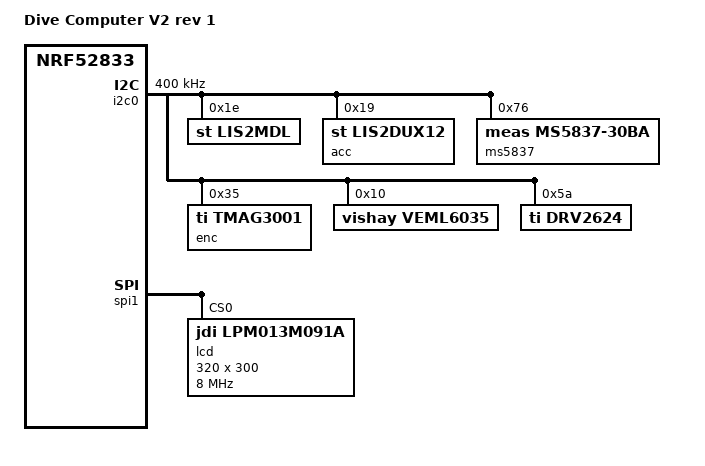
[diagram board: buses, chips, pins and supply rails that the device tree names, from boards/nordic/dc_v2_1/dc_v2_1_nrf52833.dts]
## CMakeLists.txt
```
cmake_minimum_required(VERSION 3.20.0)
set(BOARD_ROOT ${CMAKE_CURRENT_SOURCE_DIR})
find_package(Zephyr REQUIRED HINTS $ENV{ZEPHYR_BASE})

project(Firmware)

include(${CMAKE_CURRENT_SOURCE_DIR}/ostc4_baseline/exposure.cmake)
target_sources(app PRIVATE src/main.c src/firmware_exposure.c)
target_link_libraries(app PRIVATE ostc4_exposure)
```

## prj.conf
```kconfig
# SPDX-License-Identifier: Apache-2.0

# Enable MPU
CONFIG_ARM_MPU=y

# GPIO driver (rail enables, interrupts, screen control)
CONFIG_GPIO=y

# No UART is routed on this board: use SEGGER RTT over SWD for console
CONFIG_USE_SEGGER_RTT=y
CONFIG_RTT_CONSOLE=y
CONFIG_UART_CONSOLE=n
CONFIG_SERIAL=n

# Preserve OSTC4 binary32/binary64 source precision; Cortex-M4F is single only.
CONFIG_FPU=y
CONFIG_PICOLIBC=y
# Reserved stacks; static reservations are not runtime high-water measurements.
CONFIG_MAIN_STACK_SIZE=8192
CONFIG_SYSTEM_WORKQUEUE_STACK_SIZE=1024
# Honor the board's image-0 partition (0xc000..0x83000, 476 KiB).
CONFIG_USE_DT_CODE_PARTITION=y
# This development application and the calculation path use no allocation.
CONFIG_COMMON_LIBC_MALLOC_ARENA_SIZE=0
```

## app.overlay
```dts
/*
 * Dive Computer V2 rev 2, nRF52840-QIAA-F.
 * Approved Pin Studio plan, 2026-11-10: boards/nordic/dc_v2_2/pin-plan.json.
 * SPI0: SCK P0.04, MOSI P0.26. I2C1: SCL P0.27, SDA P0.05.
 * Passive routing/polarity/bias declarations, not a runtime power sequence.
 * SPDX-License-Identifier: Apache-2.0
 */
/ {
	/* Three independent active-high external regulator enables.
	 * Switched peripheral 1.8 V is distinct from always-powered MCU VDD. */
	gpio-leds {
		compatible = "gpio-leds";
		rail_1v2_en {
			gpios = <&gpio0 3 GPIO_PULL_DOWN>;
		};
		rail_1v8_en {
			gpios = <&gpio1 14 GPIO_PULL_DOWN>;
		};
		rail_3v1_en {
			gpios = <&gpio0 28 GPIO_PULL_DOWN>;
		};
		qi_en {
			/* BQ51051B EN2 adapter priority, not global Qi off. */
			gpios = <&gpio1 1 GPIO_ACTIVE_HIGH>;
		};
	};
	zephyr,user {
		/* Open-drain charger status; external pull-up to MCU VDD confirmed.
		 * Input only, with no MCU pull or output-driver flags. */
		chg_n-gpios = <&gpio1 2 GPIO_ACTIVE_LOW>;
		chg_n-input;
		chg_n-pullup-domain = "external-mcu-vdd";
	};
};

&spi0 {
	cs-gpios = <&gpio0 8 (GPIO_ACTIVE_LOW | GPIO_PULL_DOWN)>;
};

&lcd {
	reset-gpios = <&gpio0 6 (GPIO_ACTIVE_LOW | GPIO_PULL_UP)>;
	te-gpios = <&gpio1 9 GPIO_ACTIVE_HIGH>;
};

/* Single owner per interrupt, no duplicate gpio-keys. Intended ACC/MAG
 * active-high configuration follows SDK bindings; these flags do not set
 * sensor registers. Hall/light/haptic IRQ are active low. */
&acc {
	int1-gpios = <&gpio0 2 GPIO_ACTIVE_HIGH>;
	int2-gpios = <&gpio0 29 GPIO_ACTIVE_HIGH>;
	status = "okay";
};

&mag {
	irq-gpios = <&gpio1 15 GPIO_ACTIVE_HIGH>;
};

&enc {
	int-gpios = <&gpio0 30 GPIO_ACTIVE_LOW>;
};

&light {
	int-gpios = <&gpio1 13 GPIO_ACTIVE_LOW>;
};

&haptic {
	/* TRIG/INTZ in interrupt mode needs an external pull-up.
	 * No haptic register setup/driver is implemented by this declaration. */
	int-gpios = <&gpio0 31 GPIO_ACTIVE_LOW>;
};

/* BL_PWM_MCU P0.12 has only the optional PWM0 owner, disabled normally.
 * Manual fallback: R7 fitted/R8 removed. Normal panel PWM: R8 fitted/R7 DNP. */
```

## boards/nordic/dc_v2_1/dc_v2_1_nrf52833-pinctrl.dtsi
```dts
/*
 * Dive Computer V2 rev 1 - pin control definitions
 *
 * Final pinout, validated against the KiCad schematic netlist and the
 * nRF52833 QDAA (QFN40) pin assignments (product spec v1.2, Table 140).
 *
 * Only bonded QFN40 GPIOs are used. Per Table 140, P0.02, P0.03, P0.09,
 * P0.10 and P0.28-P0.30 are standard-drive, low-frequency only (<= 10 kHz)
 * pins: they carry the slow control/event signals below. All fast signals
 * (I2C at 400 kHz, screen SPI at 8 MHz) are on full-speed GPIOs.
 *
 * Fast GPIOs : P0.04, P0.05, P0.11, P1.09, P0.15, P0.17, P0.20, P0.31
 * Slow GPIOs : P0.02, P0.03, P0.09, P0.10, P0.28, P0.29, P0.30
 * Reserved   : P0.00/P0.01 (32 kHz crystal XL1/XL2), P0.18 (nRESET)
 *
 * SPDX-License-Identifier: Apache-2.0
 */

&pinctrl {
	/* Shared sensor bus: LIS2MDL (0x1E), LIS2DUX12 (0x19), VEML6035,
	 * TMAG3001 (ADDR=GND), MS5837-30BA (0x76), DRV2624 (0x5A).
	 * External 4.7k pull-ups to the always-on 1.8 V rail. */
	i2c0_default: i2c0_default {
		group1 {
			psels = <NRF_PSEL(TWIM_SCL, 0, 15)>,
				<NRF_PSEL(TWIM_SDA, 0, 17)>;
		};
	};

	i2c0_sleep: i2c0_sleep {
		group1 {
			psels = <NRF_PSEL(TWIM_SCL, 0, 15)>,
				<NRF_PSEL(TWIM_SDA, 0, 17)>;
			/* High-Z in sleep: the external pull-ups to the
			 * always-on 1.8 V rail keep the bus defined while
			 * the sensors stay powered for wake-up events. */
			low-power-enable;
		};
	};

	/* JDI LPM013M091A, 3-wire 9-bit SPI. 9-bit frames are produced by
	 * packing 8 frames into 9 bytes and issuing one transfer per line
	 * with CS held low (nRF SPIM is 8-bit only). tSCYCW min = 16 ns for
	 * GRAM writes, so 8 MHz is within spec. */
	spi1_default: spi1_default {
		group1 {
			psels = <NRF_PSEL(SPIM_SCK, 0, 4)>,
				<NRF_PSEL(SPIM_MOSI, 0, 5)>;
		};
	};

	spi1_sleep: spi1_sleep {
		group1 {
			psels = <NRF_PSEL(SPIM_SCK, 0, 4)>,
				<NRF_PSEL(SPIM_MOSI, 0, 5)>;
			/* Screen rails are gated off in sleep; keep the SPI
			 * lines low so the unpowered panel is not back-
			 * powered through its ESD diodes (JDI requires
			 * interface lines at GND level while VDDI/VCI off). */
			low-power-enable;
			bias-pull-down;
		};
	};
};
```

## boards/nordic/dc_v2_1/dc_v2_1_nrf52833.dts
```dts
/*
 * Dive Computer V2 rev 1 - nRF52833 QDAA (QFN40)
 *
 * Board hardware description, matching the KiCad schematic.
 * Power architecture: high-voltage mode (VDDH = battery on pin 9, VDD
 * pins decoupling only) - the internal REG0 LDO generates the 1.8 V
 * digital supply (REGOUT0 default), so all GPIO levels are 1.8 V.
 *
 * SPDX-License-Identifier: Apache-2.0
 */

/dts-v1/;
#include <nordic/nrf52833_qdaa.dtsi>
#include "dc_v2_1_nrf52833-pinctrl.dtsi"

/ {
	model = "Dive Computer V2 rev 1";
	compatible = "dive,dc-v2-1";

	chosen {
		zephyr,sram = &sram0;
		zephyr,flash = &flash0;
		zephyr,code-partition = &slot0_partition;
		/* No UART is routed on this board (no spare QFN40 GPIO);
		 * use SEGGER RTT over SWD for console output. */
	};

	/* GPIO pin assignments (gpio-leds/gpio-keys, sensor and screen
	 * control pins, SPI chip select) live in app.overlay so they are
	 * visible and editable in the Devicetree Visual Editor. */
};

/* GPIO ports and GPIOTE are disabled by default in the SoC dtsi;
 * enable them explicitly like the Nordic reference boards do. */
&gpiote {
	status = "okay";
};

&gpio0 {
	status = "okay";
};

&gpio1 {
	status = "okay";
};

/* P0.18/nRESET is wired to the debug connector: configure it as
 * hardware reset so a locked/sleeping device can always be
 * re-attached (same effect as nrfjprog --pinresetenable). */
&uicr {
	gpio-as-nreset;
};

&i2c0 {
	status = "okay";
	pinctrl-0 = <&i2c0_default>;
	pinctrl-1 = <&i2c0_sleep>;
	pinctrl-names = "default", "sleep";
	clock-frequency = <400000>;

	/* Magnetometer, I2C mode (CS pin tied high), fixed address.
	 * INT/DRDY not routed to the MCU: polled. */
	lis2mdl@1e {
		compatible = "st,lis2mdl";
		reg = <0x1e>;
	};

	/* Accelerometer, I2C mode (CS high), SA0 high. INT1 routed
	 * (wake-on-motion, assigned in app.overlay); INT2 not routed
	 * per pin budget decision. */
	acc: lis2dux12@19 {
		compatible = "st,lis2dux12";
		reg = <0x19>;
	};

	/* Pressure sensor, fixed address. */
	ms5837: ms5837@76 {
		compatible = "meas,ms5837-30ba";
		reg = <0x76>;
	};

	/* 3D Hall sensor for the rotary encoder, ADDR pin to GND. */
	enc: tmag3001@35 {
		compatible = "ti,tmag3001";
		reg = <0x35>;
	};

	/* Ambient light sensor (out-of-tree driver, fixed address). */
	veml6035@10 {
		compatible = "vishay,veml6035";
		reg = <0x10>;
	};

	/* Haptic driver, LRA 250 Hz (out-of-tree driver, fixed address). */
	drv2624@5a {
		compatible = "ti,drv2624";
		reg = <0x5a>;
	};
};

&spi1 {
	status = "okay";
	pinctrl-0 = <&spi1_default>;
	pinctrl-1 = <&spi1_sleep>;
	pinctrl-names = "default", "sleep";

	/* JDI LPM013M091A, 320x300 RGB111 memory-in-pixel, 3-wire 9-bit
	 * SPI (IM0=GND, DCX=VDDI). Out-of-tree display driver; TE (SYNC)
	 * input for tear-free updates. Chip select, reset and TE pins are
	 * assigned in app.overlay. */
	lcd: lpm013m091a@0 {
		compatible = "jdi,lpm013m091a";
		reg = <0>;
		spi-max-frequency = <8000000>;
		width = <320>;
		height = <300>;
	};
};

&flash0 {
	partitions {
		ranges;
		#address-cells = <1>;
		#size-cells = <1>;

		boot_partition: partition@0 {
			compatible = "zephyr,mapped-partition";
			label = "mcuboot";
			reg = <0x00000000 0xc000>;
		};

		slot0_partition: partition@c000 {
			compatible = "zephyr,mapped-partition";
			label = "image-0";
			reg = <0x0000c000 0x37000>;
		};

		slot1_partition: partition@43000 {
			compatible = "zephyr,mapped-partition";
			label = "image-1";
			reg = <0x00043000 0x37000>;
		};

		storage_partition: partition@7a000 {
			compatible = "zephyr,mapped-partition";
			label = "storage";
			reg = <0x0007a000 0x00006000>;
		};
	};
};
```

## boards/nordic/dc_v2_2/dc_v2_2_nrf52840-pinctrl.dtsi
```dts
/*
 * Dive Computer V2 rev 2 - nRF52840-QIAA pin control.
 * Owner-approved pin-plan.json, 2026-11-10.
 * SPI0 SCK/MOSI P0.04/P0.26; I2C1 SCL/SDA P0.27/P0.05.
 * Bus pins have no QIAA low-frequency restriction. Restricted application
 * GPIOs use standard drive and <=10 kHz event rates: P0.02/P0.03,
 * P0.28-P0.31, P1.01/P1.02/P1.13-P1.15.
 * P0.00/P0.01 remain XL1/XL2; P0.18 remains nRESET.
 * SPDX-License-Identifier: Apache-2.0
 */

&pinctrl {
	/* Shared sensor bus: LIS2MDL (0x1E), LIS2DUX12 (0x19), VEML6035,
	 * TMAG3001 (ADDR=GND), MS5837-30BA (0x76), DRV2624 (0x5A).
	 * External 4.7k pull-ups to the switched peripheral 1.8 V rail,
	 * enabled by P1.14 independently of the 1.2 V rail on P0.03. */
	i2c1_default: i2c1_default {
		group1 {
			psels = <NRF_PSEL(TWIM_SCL, 0, 27)>,
				<NRF_PSEL(TWIM_SDA, 0, 5)>;
			/* Standard low, disconnected high (open-drain). The SDK
			 * TWIM pinctrl driver also maps its default S0S1 to S0D1. */
			nordic,drive-mode = <NRF_DRIVE_S0D1>;
		};
	};

	i2c1_sleep: i2c1_sleep {
		group1 {
			psels = <NRF_PSEL(TWIM_SCL, 0, 27)>,
				<NRF_PSEL(TWIM_SDA, 0, 5)>;
			nordic,drive-mode = <NRF_DRIVE_S0D1>;
			/* Inputs disconnected, no internal pulls. External pull-ups
			 * disappear when the shared rail is off. A future power
			 * manager must quiesce transfers before selecting this state;
			 * this declaration alone does not sequence the rail. */
			low-power-enable;
		};
	};

	/* JDI three-wire nine-bit framing needs a future transport over the
	 * installed eight-bit-word SPIM driver: packing, exact clocks and CS
	 * continuity are not implemented here. No MISO/read path is routed.
	 * 8 MHz remains the confirmed ceiling with unresolved setup margin:
	 * 62.5 - 59 = 3.5 ns versus 20 ns register / 5 ns GRAM requirement.
	 * validation/spi4mhz.overlay selects the audit's recommended 4 MHz
	 * and high drive, leaving 66 ns before board skew. DC/10 ns edges
	 * still require physical qualification. */
	spi0_default: spi0_default {
		group1 {
			psels = <NRF_PSEL(SPIM_SCK, 0, 4)>,
				<NRF_PSEL(SPIM_MOSI, 0, 26)>;
			nordic,drive-mode = <NRF_DRIVE_S0S1>;
		};
	};

	spi0_sleep: spi0_sleep {
		group1 {
			psels = <NRF_PSEL(SPIM_SCK, 0, 4)>,
				<NRF_PSEL(SPIM_MOSI, 0, 26)>;
			/* Input/disconnected buffer plus weak pull-down: not a driven
			 * low or an implemented shutdown sequence. Powered mode-0
			 * idle and unpowered GND requirements are distinct. Runtime
			 * sequencing must establish suitable levels before rail-off
			 * and cover CS/reset/TE too; pinctrl alone proves none of it. */
			low-power-enable;
			bias-pull-down;
		};
	};

	/* PWM MCU de secours: P0.12/U1, no GPIO output alias.
	 * The controller stays disabled until the explicit fallback overlay. */
	pwm0_default: pwm0_default {
		group1 {
			psels = <NRF_PSEL(PWM_OUT0, 0, 12)>;
			nordic,drive-mode = <NRF_DRIVE_S0S1>;
		};
	};

	pwm0_sleep: pwm0_sleep {
		group1 {
			psels = <NRF_PSEL(PWM_OUT0, 0, 12)>;
			low-power-enable;
			bias-pull-down;
		};
	};
};
```

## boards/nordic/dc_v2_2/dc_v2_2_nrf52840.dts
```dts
/*
 * Dive Computer V2 rev 2 - nRF52840-QIAA; procurement variant QIAA-F.
 * Battery feeds VDDH. MCU VDD is distinct from the switched external 1.8 V rail.
 * Both internal DC/DC stages require their Nordic reference LC networks.
 * No image/startup code here writes REGOUT0; inspect the actual device UICR
 * before any later hardware programming. See README-target.txt.
 * SPDX-License-Identifier: Apache-2.0
 */

/dts-v1/;
#include <nordic/nrf52840_qiaa.dtsi>
#include "dc_v2_2_nrf52840-pinctrl.dtsi"

/ {
	model = "Dive Computer V2 rev 2";
	compatible = "dive,dc-v2-2";

	chosen {
		zephyr,sram = &sram0;
		zephyr,flash = &flash0;
		zephyr,code-partition = &slot0_partition;
		/* No UART is routed on this board;
		 * use SEGGER RTT over SWD for console output. */
	};

	/* Inspectable voltage policy, not proof of a preprogrammed UICR value.
	 * VOUT=0 selects 1.8 V; erased/default VOUT=7 also gives 1.8 V.
	 * Existing devices with another value require separate qualification. */
	zephyr,user {
		mcu-regout0-microvolt = <1800000>;
		mcu-regout0-uicr-vout = <0>;
	};

	/* GPIO pin assignments (rail enables, sensor and screen
	 * control pins, SPI chip select) live in app.overlay so they are
	 * visible and editable in the Devicetree Visual Editor. */
};

/* GPIO ports and GPIOTE are disabled by default in the SoC dtsi;
 * enable them explicitly like the Nordic reference boards do. */
&gpiote {
	status = "okay";
};

&gpio0 {
	status = "okay";
};

&gpio1 {
	status = "okay";
};

/* P0.18/nRESET is wired to the debug connector: configure it as
 * hardware reset so a locked/sleeping device can always be
 * re-attached (same effect as nrfjprog --pinresetenable). */
&uicr {
	gpio-as-nreset;
	nfct-pins-as-gpios;
};

/* Supported SDK regulator selection; do not use deprecated DCDC Kconfig. */
&reg0 {
	status = "okay";
};

&reg1 {
	regulator-initial-mode = <NRF5X_REG_MODE_DCDC>;
};

&i2c1 {
	status = "okay";
	pinctrl-0 = <&i2c1_default>;
	pinctrl-1 = <&i2c1_sleep>;
	pinctrl-names = "default", "sleep";
	clock-frequency = <400000>;

	/* Magnetometer, I2C mode (CS high), DRDY on P1.15. */
	mag: lis2mdl@1e {
		compatible = "st,lis2mdl";
		reg = <0x1e>;
	};

	/* Accelerometer, SA0 high; INT1/INT2 on P0.02/P0.29. */
	acc: lis2dux12@19 {
		compatible = "st,lis2dux12";
		reg = <0x19>;
	};

	/* Pressure sensor, fixed address. */
	ms5837: ms5837@76 {
		compatible = "meas,ms5837-30ba";
		reg = <0x76>;
	};

	/* 3D Hall sensor for the rotary encoder, ADDR pin to GND. */
	enc: tmag3001@34 {
		compatible = "ti,tmag3001";
		reg = <0x34>;
	};

	/* Ambient light sensor (out-of-tree driver, fixed address). */
	light: veml6035@10 {
		compatible = "vishay,veml6035";
		reg = <0x10>;
	};

	/* Haptic driver, LRA 250 Hz (out-of-tree driver, fixed address). */
	haptic: drv2624@5a {
		compatible = "ti,drv2624";
		reg = <0x5a>;
	};
};

&spi0 {
	status = "okay";
	pinctrl-0 = <&spi0_default>;
	pinctrl-1 = <&spi0_sleep>;
	pinctrl-names = "default", "sleep";

	/* JDI LPM013M091A, 320x300 RGB111, three-wire nine-bit protocol
	 * (IM0=GND, DCX=VDDI). No panel transport/driver is implemented.
	 * Absent spi-cpol/spi-cpha select mode 0 (rising-edge sampling).
	 * 8 MHz is the confirmed ceiling, not qualified operating speed.
	 * Chip select/reset/TE live in app.overlay; no MISO/read path. */
	lcd: lpm013m091a@0 {
		compatible = "jdi,lpm013m091a";
		reg = <0>;
		spi-max-frequency = <8000000>;
		width = <320>;
		height = <300>;
	};
};

/* PWM écran remains normal: R8 fitted, R7 DNP. P0.12 has no active
 * owner until explicit fallback selection (R7 fitted, R8 DNP). */
&pwm0 {
	status = "disabled";
	pinctrl-0 = <&pwm0_default>;
	pinctrl-1 = <&pwm0_sleep>;
	pinctrl-names = "default", "sleep";
};

/* Derived layout: 48 + 476 + 476 + 24 KiB; reservations only. */
&flash0 {
	partitions {
		ranges;
		#address-cells = <1>;
		#size-cells = <1>;

		boot_partition: partition@0 {
			compatible = "zephyr,mapped-partition";
			label = "mcuboot";
			reg = <0x00000000 0xc000>;
		};

		slot0_partition: partition@c000 {
			compatible = "zephyr,mapped-partition";
			label = "image-0";
			reg = <0x0000c000 0x77000>;
		};

		slot1_partition: partition@83000 {
			compatible = "zephyr,mapped-partition";
			label = "image-1";
			reg = <0x00083000 0x77000>;
		};

		storage_partition: partition@fa000 {
			compatible = "zephyr,mapped-partition";
			label = "storage";
			reg = <0x000fa000 0x00006000>;
		};
	};
};
```

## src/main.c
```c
/* SPDX-License-Identifier: GPL-3.0-or-later */
#include <zephyr/kernel.h>
#include <zephyr/sys/printk.h>
#include "firmware_exposure.h"

int main(void)
{
    printk("OSTC4 development firmware: SYNTHETIC self-test, no sensor exposure\n");
    const int status = firmware_exposure_smoke();
    /* Always fail closed, including when a smoke assertion exits early. */
    (void)ostc4_exposure_missing();
    printk("OSTC4 synthetic smoke status=%d; exposure INVALID; no dive guidance\n", status);
    return status;
}
```

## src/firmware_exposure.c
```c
/* SPDX-License-Identifier: GPL-3.0-or-later */
#include "firmware_exposure.h"
#include <math.h>
#include <string.h>

static bool synthetic;

static bool whole_seconds(uint64_t milliseconds)
{
    return milliseconds % 1000 == 0 && milliseconds / 1000 <= UINT32_MAX;
}

static ostc4_status reject(ostc4_status status)
{
    (void)ostc4_exposure_missing();
    return status;
}

ostc4_status firmware_exposure_start_synthetic(uint64_t timestamp_ms, uint32_t surface_pa)
{
    if (!whole_seconds(timestamp_ms))
        return reject(OSTC4_BAD_TIME);
    const ostc4_initial initial = {(uint32_t)(timestamp_ms / 1000), surface_pa / 100000.0f};
    const ostc4_status status = ostc4_exposure_initialize(&initial);
    if (status == OSTC4_OK)
        synthetic = true;
    return status;
}

ostc4_status firmware_exposure_sample(uint64_t timestamp_ms, uint32_t absolute_pa, bool valid)
{
    if (!synthetic)
        return OSTC4_NOT_INITIALIZED;
    if (!valid)
        return reject(OSTC4_BAD_INPUT);
    if (!whole_seconds(timestamp_ms))
        return reject(OSTC4_BAD_TIME);
    const ostc4_sample sample = {(uint32_t)(timestamp_ms / 1000), absolute_pa / 100000.0f};
    return ostc4_exposure_advance(&sample);
}

ostc4_status firmware_exposure_read(firmware_exposure_result *result)
{
    if (!result)
        return OSTC4_BAD_INPUT;
    memset(result, 0, sizeof(*result));
    result->synthetic = synthetic;
    return ostc4_exposure_read(&result->calculation);
}

static int run_smoke(void)
{
    firmware_exposure_result result;
    ostc4_observation before, prediction, after;
    if (firmware_exposure_start_synthetic(0, 101325) != OSTC4_OK ||
        firmware_exposure_read(&result) != OSTC4_OK || !result.synthetic)
        return 1;
    /* Independent arithmetic: .7902 * (1.01325 - .0493) = .76171329 bar.
     * 2e-7 bar was fixed before target compilation; this is a wiring smoke
     * check, not independent schedule acceptance or target runtime evidence. */
    for (unsigned i = 0; i < OSTC4_TISSUES; ++i)
        if (fabsf(result.calculation.nitrogen_bar[i] - 0.76171329f) > 2e-7f ||
            result.calculation.helium_bar[i] != 0.0f)
            return 2;
    if (firmware_exposure_sample(120000, 401325, true) != OSTC4_OK ||
        firmware_exposure_read(&result) != OSTC4_OK ||
        result.calculation.timestamp_seconds != 120 ||
        fabsf(result.calculation.absolute_pressure_bar - 4.01325f) > 1e-6f ||
        result.calculation.tissues != OSTC4_AVAILABLE)
        return 3;
    before = result.calculation;
    const ostc4_sample future = {240, 4.01325f};
    if (ostc4_exposure_predict(&future, &prediction) != OSTC4_OK ||
        prediction.timestamp_seconds != 240 ||
        ostc4_exposure_read(&after) != OSTC4_OK ||
        memcmp(&before, &after, sizeof(before)) != 0)
        return 4;
    if (firmware_exposure_sample(121000, 401325, false) != OSTC4_BAD_INPUT ||
        firmware_exposure_read(&result) != OSTC4_OK ||
        result.calculation.tissues != OSTC4_INVALID ||
        result.calculation.ndl != OSTC4_INVALID || result.calculation.tts != OSTC4_INVALID ||
        result.calculation.ceiling != OSTC4_INVALID || result.calculation.stops != OSTC4_INVALID)
        return 5;
    return 0;
}

int firmware_exposure_smoke(void)
{
    const int status = run_smoke();
    (void)ostc4_exposure_missing();
    return status;
}
```

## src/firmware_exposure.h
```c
/* SPDX-License-Identifier: GPL-3.0-or-later */
#ifndef FIRMWARE_EXPOSURE_H
#define FIRMWARE_EXPOSURE_H
#include "ostc4_exposure.h"
/* Development adapter: serialized calls from the application thread only.
 * No sensor/restart recovery is implemented. Only an explicit synthetic start
 * is supported. Input is absolute Pa and elapsed milliseconds on one clock.
 * Whole seconds must be supplied; missing/invalid data latches INVALID.
 */
typedef struct {
    bool synthetic;
    ostc4_observation calculation;
} firmware_exposure_result;
ostc4_status firmware_exposure_start_synthetic(uint64_t timestamp_ms, uint32_t surface_pa);
ostc4_status firmware_exposure_sample(uint64_t timestamp_ms, uint32_t absolute_pa, bool valid);
ostc4_status firmware_exposure_read(firmware_exposure_result *result);
/* Compiled on target, executed on host: independent fresh-tissue literal,
 * pressure/time conversion, prediction isolation and missing-data invalidation.
 * Leaves the synthetic exposure INVALID. Zero means all checks passed.
 */
int firmware_exposure_smoke(void);
#endif
```
